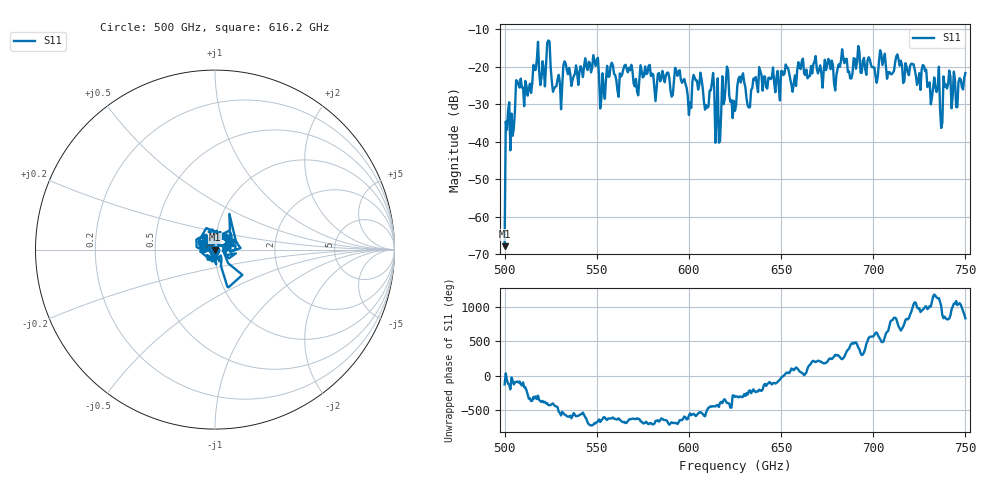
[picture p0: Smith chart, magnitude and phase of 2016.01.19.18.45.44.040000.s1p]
!Created with skrf (http://scikit-rf.org).
# GHz S RI R 50.0
!freq ReS11 ImS11
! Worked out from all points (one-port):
!   401 points, 500 GHz to 750 GHz, reference 50 ohm
!   lowest |S11| = -67.8 dB at 500 GHz (marker M1), VSWR 1.00, Z = 50 - j0.0312 ohm
!   |S11| at or under -10 dB: start of sweep to end of sweep
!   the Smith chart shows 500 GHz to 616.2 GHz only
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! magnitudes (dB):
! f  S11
! 500 GHz  -67.8
! 501.9 GHz  -31.8
! 504.4 GHz  -38.4
! 507.5 GHz  -24.7
! 520.6 GHz  -18.6
! 523.8 GHz  -13.0
! 526.9 GHz  -25.8
! 531.2 GHz  -25.2
! 549.4 GHz  -19.8
! 553.1 GHz  -21.8
! 556.9 GHz  -22.6
! 562.5 GHz  -21.8
! 593.8 GHz  -22.4
! 600 GHz  -32.9
! 603.1 GHz  -23.0
! 609.4 GHz  -30.3
! 612.5 GHz  -24.2
! 615.6 GHz  -23.1
! 620.6 GHz  -20.0
! 625 GHz  -31.8
! 628.1 GHz  -24.2
! 632.5 GHz  -30.9
! 639.4 GHz  -22.3
! 656.2 GHz  -26.7
! 687.5 GHz  -23.1
! 718.8 GHz  -21.6
! 737.5 GHz  -34.9
! 750 GHz  -21.7
